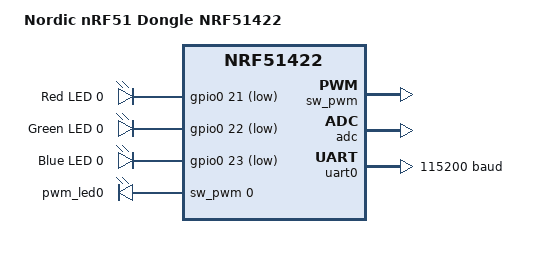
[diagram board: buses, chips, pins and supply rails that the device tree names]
/*
 * Copyright (c) 2018 Nordic Semiconductor ASA.
 *
 * SPDX-License-Identifier: Apache-2.0
 */

/dts-v1/;
#include <nordic/nrf51822_qfac.dtsi>
#include "nrf51dongle_nrf51422-pinctrl.dtsi"

/ {
	model = "Nordic nRF51 Dongle NRF51422";
	compatible = "nordic,nrf51-dongle-nrf51422";

	chosen {
		zephyr,console = &uart0;
		zephyr,shell-uart = &uart0;
		zephyr,uart-mcumgr = &uart0;
		zephyr,bt-mon-uart = &uart0;
		zephyr,bt-c2h-uart = &uart0;
		zephyr,sram = &sram0;
		zephyr,flash = &flash0;
		zephyr,code-partition = &slot0_partition;
	};

	leds {
		compatible = "gpio-leds";
		led0_red: led_0 {
			gpios = <&gpio0 21 GPIO_ACTIVE_LOW>;
			label = "Red LED 0";
		};
		led0_green: led_1 {
			gpios = <&gpio0 22 GPIO_ACTIVE_LOW>;
			label = "Green LED 0";
		};
		led0_blue: led_2 {
			gpios = <&gpio0 23 GPIO_ACTIVE_LOW>;
			label = "Blue LED 0";
		};
	};

	pwmleds {
		compatible = "pwm-leds";
		pwm_led0: pwm_led_0 {
			pwms = <&sw_pwm 0 PWM_MSEC(20) PWM_POLARITY_INVERTED>;
		};
	};

	/* These aliases are provided for compatibility with samples */
	aliases {
		led0 = &led0_red;
		led1 = &led0_green;
		led2 = &led0_blue;
		pwm-led0 = &pwm_led0;
		watchdog0 = &wdt0;
	};
};

&sw_pwm {
	status ="okay";
	channel-gpios = <&gpio0 21 PWM_POLARITY_INVERTED>;
	clock-prescaler = <8>;
};

&gpiote {
	status ="okay";
};

&gpio0 {
	status ="okay";
};

&adc {
	status ="okay";
};

&uart0 {
	current-speed = <115200>;
	status = "okay";
	pinctrl-0 = <&uart0_default>;
	pinctrl-1 = <&uart0_sleep>;
	pinctrl-names = "default", "sleep";
};

&flash0 {

	partitions {
		compatible = "fixed-partitions";
		#address-cells = <1>;
		#size-cells = <1>;

		boot_partition: partition@0 {
			label = "mcuboot";
			reg = <0x00000000 0x8000>;
		};
		slot0_partition: partition@8000 {
			label = "image-0";
			reg = <0x00008000 0x1a000>;
		};
		slot1_partition: partition@22000 {
			label = "image-1";
			reg = <0x00022000 0x1a000>;
		};
		scratch_partition: partition@3c000 {
			label = "image-scratch";
			reg = <0x0003c000 0x2000>;
		};
		storage_partition: partition@3e000 {
			label = "storage";
			reg = <0x0003e000 0x00002000>;
		};
	};
};
